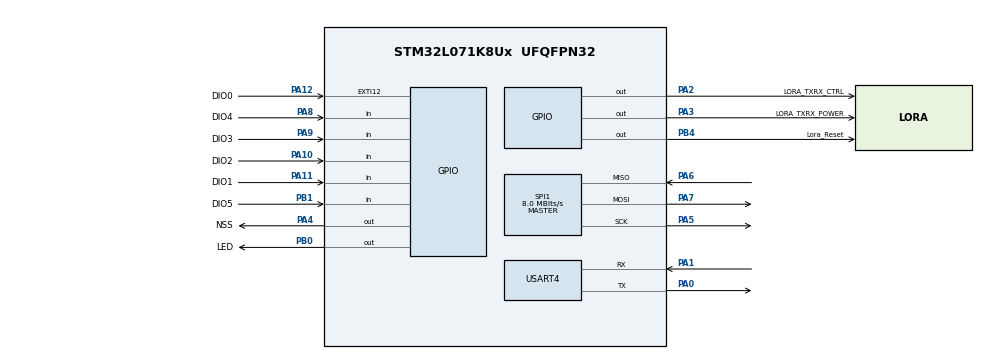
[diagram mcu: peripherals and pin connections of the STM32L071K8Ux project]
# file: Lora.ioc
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Dma.Request0=USART4_RX
Dma.Request1=USART4_TX
Dma.USART4_RX.0.Direction=DMA_PERIPH_TO_MEMORY
Dma.USART4_RX.0.Instance=DMA1_Channel2
Dma.USART4_RX.0.MemDataAlignment=DMA_MDATAALIGN_BYTE
Dma.USART4_RX.0.MemInc=DMA_MINC_ENABLE
Dma.USART4_RX.0.Mode=DMA_NORMAL
Dma.USART4_RX.0.PeriphDataAlignment=DMA_PDATAALIGN_BYTE
Dma.USART4_RX.0.PeriphInc=DMA_PINC_DISABLE
Dma.USART4_RX.0.Priority=DMA_PRIORITY_LOW
Dma.USART4_TX.1.Direction=DMA_MEMORY_TO_PERIPH
Dma.USART4_TX.1.Instance=DMA1_Channel3
Dma.USART4_TX.1.MemDataAlignment=DMA_MDATAALIGN_BYTE
Dma.USART4_TX.1.MemInc=DMA_MINC_ENABLE
Dma.USART4_TX.1.Mode=DMA_CIRCULAR
Dma.USART4_TX.1.PeriphDataAlignment=DMA_PDATAALIGN_BYTE
Dma.USART4_TX.1.PeriphInc=DMA_PINC_DISABLE
Dma.USART4_TX.1.Priority=DMA_PRIORITY_LOW
FREERTOS.Tasks01=defaultTask,0,128,StartDefaultTask,Default,NULL
FREERTOS.configTOTAL_HEAP_SIZE=15360
FREERTOS.configUSE_TICKLESS_IDLE=0
IWDG.Prescaler=IWDG_PRESCALER_32
IWDG.Reload=2000
Mcu.Family=STM32L0
Mcu.Name=STM32L071K8Ux
Mcu.Package=UFQFPN32
NVIC.DMA1_Channel2_3_IRQn=true\:3\:0\:false\:false\:true\:true\:false
NVIC.EXTI4_15_IRQn=true\:3\:0\:false\:false\:true\:true\:true
NVIC.RTC_IRQn=true\:3\:0\:false\:false\:true\:true\:true
NVIC.USART4_5_IRQn=true\:3\:0\:false\:false\:true\:true\:true
PA0.Mode=Asynchronous
PA0.Signal=USART4_TX
PA1.Mode=Asynchronous
PA1.Signal=USART4_RX
PA10.GPIO_Label=DIO2
PA10.Signal=GPIO_Input
PA11.GPIO_Label=DIO1
PA11.Signal=GPIO_Input
PA12.GPIO_Label=DIO0
PA12.GPIO_ModeDefaultEXTI=GPIO_MODE_IT_RISING
PA12.GPIO_PuPd=GPIO_PULLDOWN
PA12.Signal=GPXTI12
PA2.GPIO_Label=LORA_TXRX_CTRL
PA2.GPIO_Speed=GPIO_SPEED_FREQ_VERY_HIGH
PA2.Signal=GPIO_Output
PA3.GPIO_Label=LORA_TXRX_POWER
PA3.PinState=GPIO_PIN_SET
PA3.Signal=GPIO_Output
PA4.GPIO_Label=NSS
PA4.GPIO_Speed=GPIO_SPEED_FREQ_VERY_HIGH
PA4.PinState=GPIO_PIN_SET
PA4.Signal=GPIO_Output
PA5.GPIO_PuPd=GPIO_PULLDOWN
PA5.Mode=Full_Duplex_Master
PA5.Signal=SPI1_SCK
PA6.GPIO_PuPd=GPIO_PULLUP
PA6.Mode=Full_Duplex_Master
PA6.Signal=SPI1_MISO
PA7.GPIO_PuPd=GPIO_NOPULL
PA7.Mode=Full_Duplex_Master
PA7.Signal=SPI1_MOSI
PA8.GPIO_Label=DIO4
PA8.Signal=GPIO_Input
PA9.GPIO_Label=DIO3
PA9.Signal=GPIO_Input
PB0.GPIO_Label=LED
PB0.GPIO_PuPd=GPIO_NOPULL
PB0.GPIO_Speed=GPIO_SPEED_FREQ_VERY_HIGH
PB0.PinState=GPIO_PIN_SET
PB0.Signal=GPIO_Output
PB1.GPIO_Label=DIO5
PB1.Signal=GPIO_Input
PB4.GPIO_Label=Lora_Reset
PB4.GPIO_ModeDefaultOutputPP=GPIO_MODE_OUTPUT_PP
PB4.GPIO_Speed=GPIO_SPEED_FREQ_VERY_HIGH
PB4.PinState=GPIO_PIN_SET
PB4.Signal=GPIO_Output
PC14-OSC32_IN.Mode=LSE-External-Oscillator
PC14-OSC32_IN.Signal=RCC_OSC32_IN
PC15-OSC32_OUT.Mode=LSE-External-Oscillator
PC15-OSC32_OUT.Signal=RCC_OSC32_OUT
ProjectManager.HeapSize=0x200
ProjectManager.StackSize=0x400
ProjectManager.TargetToolchain=EWARM V8
RCC.AHBFreq_Value=32000000
RCC.APB1Freq_Value=32000000
RCC.APB1TimFreq_Value=32000000
RCC.APB2Freq_Value=32000000
RCC.APB2TimFreq_Value=32000000
RCC.HCLKFreq_Value=32000000
RCC.HSI16_VALUE=16000000
RCC.HSI_VALUE=16000000
RCC.MSI_VALUE=2097000
RCC.PLLMUL=RCC_PLLMUL_4
RCC.RTCClockSelection=RCC_RTCCLKSOURCE_LSE
RCC.RTCClockSelectionVirtual=RCC_RTCCLKSOURCE_LSE
RCC.SYSCLKFreq_VALUE=32000000
RCC.SYSCLKSource=RCC_SYSCLKSOURCE_PLLCLK
RCC.VCOOutputFreq_Value=64000000
RTC.Alarm=RTC_ALARM_A
RTC.AlarmMaskMinutes=RTC_ALARMMASK_MINUTES
RTC.AlarmMaskSeconds=RTC_ALARMMASK_SECONDS
RTC.AlarmSubSecondMask=RTC_ALARMSUBSECONDMASK_ALL
SPI1.BaudRatePrescaler=SPI_BAUDRATEPRESCALER_4
SPI1.CRCCalculation=SPI_CRCCALCULATION_DISABLE
SPI1.CalculateBaudRate=8.0 MBits/s
SPI1.Direction=SPI_DIRECTION_2LINES
SPI1.Mode=SPI_MODE_MASTER
SPI1.TIMode=SPI_TIMODE_DISABLE
SPI1.VirtualType=VM_MASTER
USART4.MSBFirstParam=ADVFEATURE_MSBFIRST_DISABLE
USART4.VirtualMode=VM_ASYNC
VP_FREERTOS_VS_ENABLE.Mode=Enabled
VP_IWDG_VS_IWDG.Mode=IWDG_Activate
VP_RTC_VS_RTC_Activate.Mode=RTC_Enabled
VP_RTC_VS_RTC_Alarm_A_Intern.Mode=Alarm A
VP_RTC_VS_RTC_Calendar.Mode=RTC_Calendar
board=custom

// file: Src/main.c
/**
  ******************************************************************************
  * @file           : main.c
  * @brief          : Main program body
  ******************************************************************************
  * This notice applies to any and all portions of this file
  * that are not between comment pairs USER CODE BEGIN and
  * USER CODE END. Other portions of this file, whether
  * inserted by the user or by software development tools
  * are owned by their respective copyright owners.
  *
  * Copyright (c) 2019 STMicroelectronics International N.V.
  * All rights reserved.
  *
  * Redistribution and use in source and binary forms, with or without
  * modification, are permitted, provided that the following conditions are met:
  *
  * 1. Redistribution of source code must retain the above copyright notice,
  *    this list of conditions and the following disclaimer.
  * 2. Redistributions in binary form must reproduce the above copyright notice,
  *    this list of conditions and the following disclaimer in the documentation
  *    and/or other materials provided with the distribution.
  * 3. Neither the name of STMicroelectronics nor the names of other
  *    contributors to this software may be used to endorse or promote products
  *    derived from this software without specific written permission.
  * 4. This software, including modifications and/or derivative works of this
  *    software, must execute solely and exclusively on microcontroller or
  *    microprocessor devices manufactured by or for STMicroelectronics.
  * 5. Redistribution and use of this software other than as permitted under
  *    this license is void and will automatically terminate your rights under
  *    this license.
  *
  * THIS SOFTWARE IS PROVIDED BY STMICROELECTRONICS AND CONTRIBUTORS "AS IS"
  * AND ANY EXPRESS, IMPLIED OR STATUTORY WARRANTIES, INCLUDING, BUT NOT
  * LIMITED TO, THE IMPLIED WARRANTIES OF MERCHANTABILITY, FITNESS FOR A
  * PARTICULAR PURPOSE AND NON-INFRINGEMENT OF THIRD PARTY INTELLECTUAL PROPERTY
  * RIGHTS ARE DISCLAIMED TO THE FULLEST EXTENT PERMITTED BY LAW. IN NO EVENT
  * SHALL STMICROELECTRONICS OR CONTRIBUTORS BE LIABLE FOR ANY DIRECT, INDIRECT,
  * INCIDENTAL, SPECIAL, EXEMPLARY, OR CONSEQUENTIAL DAMAGES (INCLUDING, BUT NOT
  * LIMITED TO, PROCUREMENT OF SUBSTITUTE GOODS OR SERVICES; LOSS OF USE, DATA,
  * OR PROFITS; OR BUSINESS INTERRUPTION) HOWEVER CAUSED AND ON ANY THEORY OF
  * LIABILITY, WHETHER IN CONTRACT, STRICT LIABILITY, OR TORT (INCLUDING
  * NEGLIGENCE OR OTHERWISE) ARISING IN ANY WAY OUT OF THE USE OF THIS SOFTWARE,
  * EVEN IF ADVISED OF THE POSSIBILITY OF SUCH DAMAGE.
  *
  ******************************************************************************
  */
#include "main.h"
#include "stm32l0xx_hal.h"
#include "cmsis_os.h"
#include "dma.h"
#include "iwdg.h"
#include "rtc.h"
#include "spi.h"
#include "usart.h"
#include "gpio.h"

/* USER CODE BEGIN Includes */
#include "loraConfig.h"
#include <string.h>
#include <stdint.h>
#include "OS_timers.h"
#include "lora.h"
#include "Network.h"
#include "OStask.h"
#include "../../sx127x/sx1276-Hal.h"
/* USER CODE END Includes */

/* USER CODE BEGIN PV */
/* Private variables ---------------------------------------------------------*/

/* USER CODE END PV */

void SystemClock_Config(void);
void MX_FREERTOS_Init(void);

/* USER CODE BEGIN PFP */
/* Private function prototypes -----------------------------------------------*/

static void systickConfig( void );
/* USER CODE END PFP */

int main(void)
{

  /* MCU Configuration----------------------------------------------------------*/

  /* Reset of all peripherals, Initializes the Flash interface and the Systick. */
  HAL_Init();

  /* Configure the system clock */
  SystemClock_Config();

  /* USER CODE BEGIN SysInit */
  systickConfig();
  /* USER CODE END SysInit */

  /* Initialize all configured peripherals */
  MX_GPIO_Init();
  MX_DMA_Init();
  MX_SPI1_Init();
  MX_USART4_UART_Init();
  MX_IWDG_Init();
  MX_RTC_Init();
  /* USER CODE BEGIN 2 */

  halDriverInit();

  loraInit();

  networkInit();

  osTimerInit();

  osTaskInit();

  /* USER CODE END 2 */

  /* Call init function for freertos objects (in freertos.c) */
  MX_FREERTOS_Init();

  /* Start scheduler */
  osKernelStart();

  /* We should never get here as control is now taken by the scheduler */

  /* Infinite loop */
  while (1)
  {

  }

}

void SystemClock_Config(void)
{

  LL_FLASH_SetLatency(LL_FLASH_LATENCY_1);

  if(LL_FLASH_GetLatency() != LL_FLASH_LATENCY_1)
  {
  Error_Handler();
  }
  LL_PWR_SetRegulVoltageScaling(LL_PWR_REGU_VOLTAGE_SCALE1);

  LL_RCC_HSI_Enable();

   /* Wait till HSI is ready */
  while(LL_RCC_HSI_IsReady() != 1)
  {

  }
  LL_RCC_HSI_SetCalibTrimming(16);

  LL_RCC_LSI_Enable();

   /* Wait till LSI is ready */
  while(LL_RCC_LSI_IsReady() != 1)
  {

  }
  LL_PWR_EnableBkUpAccess();

  LL_RCC_ForceBackupDomainReset();

  LL_RCC_ReleaseBackupDomainReset();

  LL_RCC_LSE_SetDriveCapability(LL_RCC_LSEDRIVE_LOW);

  LL_RCC_LSE_Enable();

   /* Wait till LSE is ready */
  while(LL_RCC_LSE_IsReady() != 1)
  {

  }
  LL_RCC_SetRTCClockSource(LL_RCC_RTC_CLKSOURCE_LSE);

  LL_RCC_EnableRTC();

  LL_RCC_PLL_ConfigDomain_SYS(LL_RCC_PLLSOURCE_HSI, LL_RCC_PLL_MUL_4, LL_RCC_PLL_DIV_2);

  LL_RCC_PLL_Enable();

   /* Wait till PLL is ready */
  while(LL_RCC_PLL_IsReady() != 1)
  {

  }
  LL_RCC_SetAHBPrescaler(LL_RCC_SYSCLK_DIV_1);

  LL_RCC_SetAPB1Prescaler(LL_RCC_APB1_DIV_1);

  LL_RCC_SetAPB2Prescaler(LL_RCC_APB2_DIV_1);

  LL_RCC_SetSysClkSource(LL_RCC_SYS_CLKSOURCE_PLL);

   /* Wait till System clock is ready */
  while(LL_RCC_GetSysClkSource() != LL_RCC_SYS_CLKSOURCE_STATUS_PLL)
  {

  }
  LL_Init1msTick(32000000);

  LL_SYSTICK_SetClkSource(LL_SYSTICK_CLKSOURCE_HCLK);

  LL_SetSystemCoreClock(32000000);

  /* SysTick_IRQn interrupt configuration */
  NVIC_SetPriority(SysTick_IRQn, 3);
}

/* USER CODE BEGIN 4 */
/*****************************************************************
* DESCRIPTION: systickConfig
*
* INPUTS:
*
* OUTPUTS:
*
* NOTE:
*     null
*****************************************************************/
static void systickConfig( void )
{
    /* Setup SysTick Timer for 1 us interrupts ( not too often to save power ) */
    if( SysTick_Config( SystemCoreClock / 1000 ) )
    {
        /* Capture error */
        while (1);
    }
}
/* USER CODE END 4 */

void _Error_Handler(char *file, int line)
{
  /* USER CODE BEGIN Error_Handler_Debug */
  /* User can add his own implementation to report the HAL error return state */
  while(1)
  {
      /* Reset */
      resetSystem();
  }
  /* USER CODE END Error_Handler_Debug */
}

/************************ (C) COPYRIGHT STMicroelectronics *****END OF FILE****/

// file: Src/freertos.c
/* USER CODE BEGIN Header */
/**
  ******************************************************************************
  * File Name          : freertos.c
  * Description        : Code for freertos applications
  ******************************************************************************
  * This notice applies to any and all portions of this file
  * that are not between comment pairs USER CODE BEGIN and
  * USER CODE END. Other portions of this file, whether
  * inserted by the user or by software development tools
  * are owned by their respective copyright owners.
  *
  * Copyright (c) 2018 STMicroelectronics International N.V.
  * All rights reserved.
  *
  * Redistribution and use in source and binary forms, with or without
  * modification, are permitted, provided that the following conditions are met:
  *
  * 1. Redistribution of source code must retain the above copyright notice,
  *    this list of conditions and the following disclaimer.
  * 2. Redistributions in binary form must reproduce the above copyright notice,
  *    this list of conditions and the following disclaimer in the documentation
  *    and/or other materials provided with the distribution.
  * 3. Neither the name of STMicroelectronics nor the names of other
  *    contributors to this software may be used to endorse or promote products
  *    derived from this software without specific written permission.
  * 4. This software, including modifications and/or derivative works of this
  *    software, must execute solely and exclusively on microcontroller or
  *    microprocessor devices manufactured by or for STMicroelectronics.
  * 5. Redistribution and use of this software other than as permitted under
  *    this license is void and will automatically terminate your rights under
  *    this license.
  *
  * THIS SOFTWARE IS PROVIDED BY STMICROELECTRONICS AND CONTRIBUTORS "AS IS"
  * AND ANY EXPRESS, IMPLIED OR STATUTORY WARRANTIES, INCLUDING, BUT NOT
  * LIMITED TO, THE IMPLIED WARRANTIES OF MERCHANTABILITY, FITNESS FOR A
  * PARTICULAR PURPOSE AND NON-INFRINGEMENT OF THIRD PARTY INTELLECTUAL PROPERTY
  * RIGHTS ARE DISCLAIMED TO THE FULLEST EXTENT PERMITTED BY LAW. IN NO EVENT
  * SHALL STMICROELECTRONICS OR CONTRIBUTORS BE LIABLE FOR ANY DIRECT, INDIRECT,
  * INCIDENTAL, SPECIAL, EXEMPLARY, OR CONSEQUENTIAL DAMAGES (INCLUDING, BUT NOT
  * LIMITED TO, PROCUREMENT OF SUBSTITUTE GOODS OR SERVICES; LOSS OF USE, DATA,
  * OR PROFITS; OR BUSINESS INTERRUPTION) HOWEVER CAUSED AND ON ANY THEORY OF
  * LIABILITY, WHETHER IN CONTRACT, STRICT LIABILITY, OR TORT (INCLUDING
  * NEGLIGENCE OR OTHERWISE) ARISING IN ANY WAY OUT OF THE USE OF THIS SOFTWARE,
  * EVEN IF ADVISED OF THE POSSIBILITY OF SUCH DAMAGE.
  *
  ******************************************************************************
  */
/* USER CODE END Header */

#include "FreeRTOS.h"
#include "task.h"
#include "main.h"
#include "cmsis_os.h"

/* USER CODE BEGIN Includes */
#include "loraConfig.h"
/* USER CODE END Includes */

osThreadId defaultTaskHandle;

void StartDefaultTask(void const * argument);

void MX_FREERTOS_Init(void); /* (MISRA C 2004 rule 8.1) */

void MX_FREERTOS_Init(void) {

  /* Create the thread(s) */
  /* definition and creation of defaultTask */
  osThreadDef(defaultTask, StartDefaultTask, osPriorityNormal, 0, 128);
  defaultTaskHandle = osThreadCreate(osThread(defaultTask), NULL);

}

void StartDefaultTask(void const * argument)
{

  /* USER CODE BEGIN StartDefaultTask */
    uint32_t eventId = 0;
  /* Infinite loop */
  for(;;)
  {

   eventId = 0;
   /* wait task notify */
   xTaskNotifyWait( (uint32_t)0, ULONG_MAX, &eventId, portMAX_DELAY );
    osDelay(1);
  }
  /* USER CODE END StartDefaultTask */
}

/************************ (C) COPYRIGHT STMicroelectronics *****END OF FILE****/
